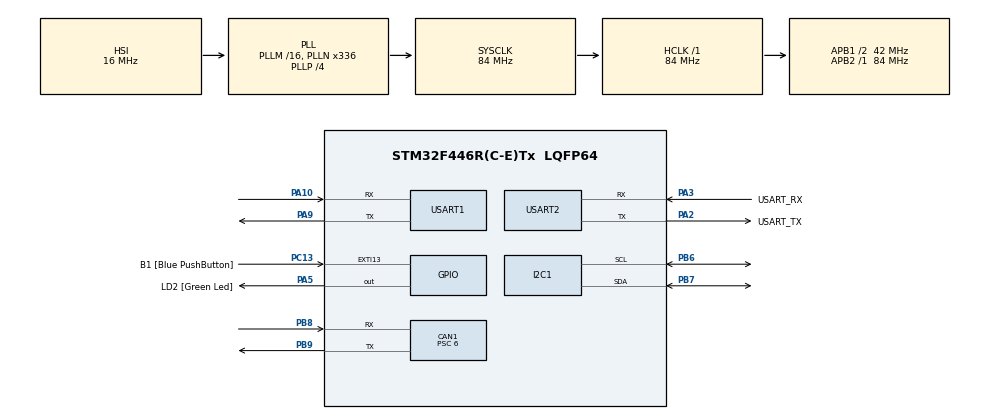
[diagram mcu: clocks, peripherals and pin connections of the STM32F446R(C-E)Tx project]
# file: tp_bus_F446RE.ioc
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CAN1.BS1=CAN_BS1_11TQ
CAN1.BS2=CAN_BS2_2TQ
CAN1.CalculateBaudRate=500000
CAN1.CalculateTimeBit=2000
CAN1.CalculateTimeQuantum=142.85714285714286
CAN1.Prescaler=6
Mcu.Family=STM32F4
Mcu.Name=STM32F446R(C-E)Tx
Mcu.Package=LQFP64
NVIC.PriorityGroup=NVIC_PRIORITYGROUP_0
NVIC.USART1_IRQn=true\:0\:0\:false\:false\:true\:true\:true\:true
NVIC.USART2_IRQn=true\:0\:0\:false\:false\:true\:true\:true\:true
PA10.Mode=Asynchronous
PA10.Signal=USART1_RX
PA13.GPIO_Label=TMS
PA13.Mode=Serial_Wire
PA13.Signal=SYS_JTMS-SWDIO
PA14.GPIO_Label=TCK
PA14.Mode=Serial_Wire
PA14.Signal=SYS_JTCK-SWCLK
PA2.GPIO_Label=USART_TX
PA2.Mode=Asynchronous
PA2.Signal=USART2_TX
PA3.GPIO_Label=USART_RX
PA3.Mode=Asynchronous
PA3.Signal=USART2_RX
PA5.GPIO_Label=LD2 [Green Led]
PA5.Signal=GPIO_Output
PA9.Mode=Asynchronous
PA9.Signal=USART1_TX
PB3.GPIO_Label=SWO
PB3.Signal=SYS_JTDO-SWO
PB6.Mode=I2C
PB6.Signal=I2C1_SCL
PB7.Mode=I2C
PB7.Signal=I2C1_SDA
PB8.Mode=CAN_Activate
PB8.Signal=CAN1_RX
PB9.Mode=CAN_Activate
PB9.Signal=CAN1_TX
PC13.GPIO_Label=B1 [Blue PushButton]
PC13.GPIO_ModeDefaultEXTI=GPIO_MODE_IT_FALLING
PC13.Signal=GPXTI13
PC14-OSC32_IN.Mode=LSE-External-Oscillator
PC14-OSC32_IN.Signal=RCC_OSC32_IN
PC15-OSC32_OUT.Mode=LSE-External-Oscillator
PC15-OSC32_OUT.Signal=RCC_OSC32_OUT
PH0-OSC_IN.Mode=HSE-External-Oscillator
PH0-OSC_IN.Signal=RCC_OSC_IN
PH1-OSC_OUT.Mode=HSE-External-Oscillator
PH1-OSC_OUT.Signal=RCC_OSC_OUT
ProjectManager.HeapSize=0x200
ProjectManager.StackSize=0x400
ProjectManager.TargetToolchain=STM32CubeIDE
RCC.48MHZClocksFreq_Value=84000000
RCC.AHBFreq_Value=84000000
RCC.APB1CLKDivider=RCC_HCLK_DIV2
RCC.APB1Freq_Value=42000000
RCC.APB1TimFreq_Value=84000000
RCC.APB2Freq_Value=84000000
RCC.APB2TimFreq_Value=84000000
RCC.CortexFreq_Value=84000000
RCC.FLatency-AdvancedSettings=FLASH_LATENCY_2
RCC.HCLKFreq_Value=84000000
RCC.HSE_VALUE=8000000
RCC.HSI_VALUE=16000000
RCC.PLLN=336
RCC.PLLP=RCC_PLLP_DIV4
RCC.SYSCLKFreq_VALUE=84000000
RCC.SYSCLKSource=RCC_SYSCLKSOURCE_PLLCLK
RCC.USBFreq_Value=168000000
RCC.VCOOutputFreq_Value=336000000
USART1.VirtualMode=VM_ASYNC
USART2.VirtualMode=VM_ASYNC
board=NUCLEO-F446RE

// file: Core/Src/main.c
/* USER CODE BEGIN Header */
/**
 ******************************************************************************
 * @file           : main.c
 * @brief          : Main program body
 ******************************************************************************
 * @attention
 *
 * Copyright (c) 2025 STMicroelectronics.
 * All rights reserved.
 *
 * This software is licensed under terms that can be found in the LICENSE file
 * in the root directory of this software component.
 * If no LICENSE file comes with this software, it is provided AS-IS.
 *
 ******************************************************************************
 */
/* USER CODE END Header */
#include "main.h"
#include "can.h"
#include "i2c.h"
#include "usart.h"
#include "gpio.h"

/* USER CODE BEGIN Includes */
#include <stdio.h>
#include "BMP280.h"
/* USER CODE END Includes */

void SystemClock_Config(void);

/* USER CODE BEGIN 0 */
int __io_putchar(int chr)
{
	HAL_UART_Transmit(&huart2, (uint8_t*)&chr, 1, HAL_MAX_DELAY);
	return chr;
}
/* USER CODE END 0 */

int main(void)
{

	/* MCU Configuration--------------------------------------------------------*/

	/* Reset of all peripherals, Initializes the Flash interface and the Systick. */
	HAL_Init();

	/* Configure the system clock */
	SystemClock_Config();

	/* Initialize all configured peripherals */
	MX_GPIO_Init();
	MX_USART2_UART_Init();
	MX_I2C1_Init();
	MX_USART1_UART_Init();
	MX_CAN1_Init();
	/* USER CODE BEGIN 2 */
	printf("Bonjour Antonio y Louis\r\n");

	BMP280_Init(&hi2c1);  // BMP280 configuration
	int32_t raw_p, raw_t;
	int32_t comp_t;
	uint32_t comp_p;

	HAL_CAN_Start(&hcan1);

	CAN_TxHeaderTypeDef TxHeader;
	uint32_t TxMailbox;
	uint8_t TxData[8];

	TxHeader.StdId = 0x60;
	TxHeader.ExtId = 0;
	TxHeader.IDE = CAN_ID_STD;
	TxHeader.RTR = CAN_RTR_DATA;
	TxHeader.DLC = 3;
	TxHeader.TransmitGlobalTime = DISABLE;
	/* USER CODE END 2 */

	/* Infinite loop */
	/* USER CODE BEGIN WHILE */
	while (1)
	{
		// 1. Read Raw
		BMP280_Read_Raw(&hi2c1, &raw_p, &raw_t);

		// 2. Compensate (Temp FIRST)
		comp_t = bmp280_compensate_T_int32(raw_t);
		comp_p = bmp280_compensate_P_int64(raw_p);

		// 3. Print (Raw & Readable)
		// T: 5123 = 51.23 degC
		// P: Pa in Q24.8 format, divide by 256 for integer Pa, divide by 25600 for hPa
		printf("RAW: T=%ld P=%ld | FINAL: T=%.2f C, P=%.2f hPa\r\n",
				raw_t, raw_p,
				comp_t / 100.0f,
				comp_p / 25600.0f);

		HAL_Delay(1000);

		int val_step=comp_t/100;
		uint32_t val_step_hexa= val_step;//conversion vers hexadécimal

		TxData[0] = 0x00;
		TxData[1] = val_step_hexa; // proportionel
		TxData[2] = 0x01;
		HAL_CAN_AddTxMessage(&hcan1, &TxHeader, TxData, &TxMailbox);

		HAL_Delay(1000);

		TxData[0] = 0x01;
		TxData[1] = 0xB4;
		TxData[2] = 0x01;

		HAL_CAN_AddTxMessage(&hcan1, &TxHeader, TxData, &TxMailbox);
		printf("Envoi +90 deg OK\r\n");

		HAL_Delay(1000);

		/* USER CODE END WHILE */

	}
}

void SystemClock_Config(void)
{
	RCC_OscInitTypeDef RCC_OscInitStruct = {0};
	RCC_ClkInitTypeDef RCC_ClkInitStruct = {0};

	/** Configure the main internal regulator output voltage
	 */
	__HAL_RCC_PWR_CLK_ENABLE();
	__HAL_PWR_VOLTAGESCALING_CONFIG(PWR_REGULATOR_VOLTAGE_SCALE3);

	/** Initializes the RCC Oscillators according to the specified parameters
	 * in the RCC_OscInitTypeDef structure.
	 */
	RCC_OscInitStruct.OscillatorType = RCC_OSCILLATORTYPE_HSI;
	RCC_OscInitStruct.HSIState = RCC_HSI_ON;
	RCC_OscInitStruct.HSICalibrationValue = RCC_HSICALIBRATION_DEFAULT;
	RCC_OscInitStruct.PLL.PLLState = RCC_PLL_ON;
	RCC_OscInitStruct.PLL.PLLSource = RCC_PLLSOURCE_HSI;
	RCC_OscInitStruct.PLL.PLLM = 16;
	RCC_OscInitStruct.PLL.PLLN = 336;
	RCC_OscInitStruct.PLL.PLLP = RCC_PLLP_DIV4;
	RCC_OscInitStruct.PLL.PLLQ = 2;
	RCC_OscInitStruct.PLL.PLLR = 2;
	if (HAL_RCC_OscConfig(&RCC_OscInitStruct) != HAL_OK)
	{
		Error_Handler();
	}

	/** Initializes the CPU, AHB and APB buses clocks
	 */
	RCC_ClkInitStruct.ClockType = RCC_CLOCKTYPE_HCLK|RCC_CLOCKTYPE_SYSCLK
			|RCC_CLOCKTYPE_PCLK1|RCC_CLOCKTYPE_PCLK2;
	RCC_ClkInitStruct.SYSCLKSource = RCC_SYSCLKSOURCE_PLLCLK;
	RCC_ClkInitStruct.AHBCLKDivider = RCC_SYSCLK_DIV1;
	RCC_ClkInitStruct.APB1CLKDivider = RCC_HCLK_DIV2;
	RCC_ClkInitStruct.APB2CLKDivider = RCC_HCLK_DIV1;

	if (HAL_RCC_ClockConfig(&RCC_ClkInitStruct, FLASH_LATENCY_2) != HAL_OK)
	{
		Error_Handler();
	}
}

void Error_Handler(void)
{
	__disable_irq();
	while (1)
	{
	}
}
